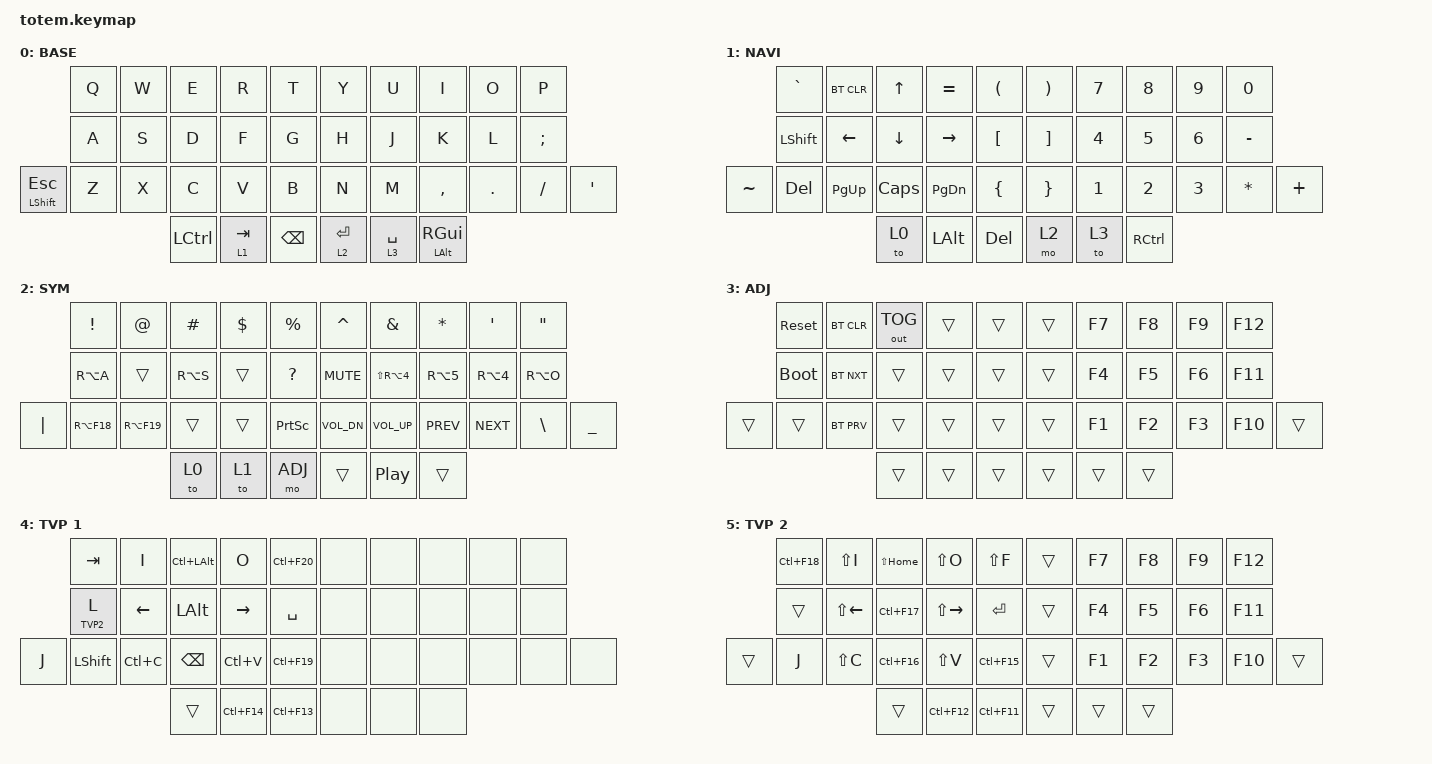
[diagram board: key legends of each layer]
//
//                                                        ▀▀▀▀▀     ▀▀▀▀▀          ▀▀█▀▀
//                                                        ▄▀▀▀▄  ▄  ▄▀▀▀▄  ▄  ▄▀▀▀▄  █  ▄▀▀▀▄
//                                                        █   █  █  █   █  █  █   █  █  █   █
//                                                         ▀▀▀   █   ▀▀▀   █   ▀▀▀   ▀   ▀▀▀
//                                                               █      ▄▄▄█▄▄▄    █   █  
//                                                               ▀      █  █  █     █▄█
//                                                             ▀▀▀▀▀    █  █  █      ▀
//                                                                      ▀  ▀  ▀
//
// ▄▄▄▄▄▄▄▄▄▄▄▄▄▄▄▄▄▄▄▄▄▄▄▄▄▄▄▄▄▄▄▄▄▄▄▄▄▄▄▄▄▄▄▄▄▄▄▄▄▄▄▄▄▄▄▄▄▄▄▄▄▄▄▄▄▄▄▄▄▄▄▄▄▄▄▄▄▄▄▄▄▄▄▄▄▄▄▄▄▄▄▄▄▄▄▄▄▄▄▄▄▄▄▄▄▄▄▄▄▄▄▄▄▄▄▄▄▄▄▄▄▄▄▄▄▄▄▄▄▄▄▄▄▄▄▄▄▄▄▄▄▄▄▄▄▄▄▄▄

#include <behaviors.dtsi>
#include <dt-bindings/zmk/bt.h>
#include <dt-bindings/zmk/keys.h>
#include <dt-bindings/zmk/outputs.h>

#define BASE 0
#define NAV  1
#define SYM  2
#define ADJ  3
#define TVP1 4
#define TVP2 5

&mt {
    quick-tap-ms = <100>;
    global-quick-tap;
    flavor = "tap-preferred";
    tapping-term-ms = <170>;
};

/ {
    combos {
        compatible = "zmk,combos";

        combo_esc {
            timeout-ms = <50>;
            key-positions = <0 1>;
            bindings = <&kp ESC>;
        };

        copy {
            bindings = <&kp LC(C)>;
            key-positions = <23 22>;
        };

        paste {
            bindings = <&kp LC(V)>;
            key-positions = <23 24>;
        };
    };

    macros {
        gif: gif {
            label = "giphy";
            compatible = "zmk,behavior-macro";
            #binding-cells = <0>;
            bindings =
                <&macro_press>,
                <&kp LSHFT>,
                <&macro_tap>,
                <&kp N2>,
                <&macro_release>,
                <&kp LSHFT>,
                <&macro_tap>,
                <&kp G &kp I &kp F>;
        };
    };

    keymap {
        compatible = "zmk,keymap";

        // ▄▄▄▄▄▄▄▄▄▄▄▄▄▄▄▄▄▄▄▄▄▄▄▄▄▄▄▄▄▄▄▄▄▄▄▄▄▄▄▄▄▄▄▄▄▄▄▄▄▄▄▄▄▄▄▄▄▄▄▄▄▄▄▄▄▄▄▄▄▄▄▄▄▄▄▄▄▄▄▄▄▄▄▄▄▄▄▄▄▄▄▄▄▄▄▄▄▄▄▄▄▄▄▄▄▄▄▄▄▄▄▄▄▄▄▄▄▄▄▄▄▄▄▄▄▄▄▄▄▄▄▄▄▄▄▄▄▄▄▄▄▄▄▄▄▄▄▄▄

        base_layer {
            // ┏━━━━━━━━━━━━━━━━━━━━━━━━━━━━━━━━━━━━━━━┓

            label = "BASE";

            // ┗━━━━━━━━━━━━━━━━━━━━━━━━━━━━━━━━━━━━━━━┛
            //             ┏━━━━━━━━━━━┳━━━━━━━━━━━┳━━━━━━━━━━━┳━━━━━━━━━━━┳━━━━━━━━━━━┓   ┏━━━━━━━━━━━┳━━━━━━━━━━━┳━━━━━━━━━━━┳━━━━━━━━━━━┳━━━━━━━━━━━┓
            //             ┃     Q     ┃     W     ┃     F     ┃     P     ┃     G     ┃   ┃     J     ┃     L     ┃     U     ┃     Y     ┃     ;     ┃
            //             ┣━━━━━━━━━━━╋━━━━━━━━━━━╋━━━━━━━━━━━╋━━━━━━━━━━━╋━━━━━━━━━━━┫   ┣━━━━━━━━━━━╋━━━━━━━━━━━╋━━━━━━━━━━━╋━━━━━━━━━━━╋━━━━━━━━━━━┫
            //             ┃     A     ┃     R     ┃     S     ┃     T     ┃     D     ┃   ┃     H     ┃     N     ┃     E     ┃     I     ┃     O     ┃
            // ┏━━━━━━━━━━━╋━━━━━━━━━━━╋━━━━━━━━━━━╋━━━━━━━━━━━╋━━━━━━━━━━━╋━━━━━━━━━━━┫   ┣━━━━━━━━━━━╋━━━━━━━━━━━╋━━━━━━━━━━━╋━━━━━━━━━━━╋━━━━━━━━━━━╋━━━━━━━━━━━┓
            // ┃     Q     ┃     Z     ┃     X     ┃     C     ┃     V     ┃     B     ┃   ┃     K     ┃     M     ┃     ,     ┃     .     ┃     /     ┃     \     ┃
            // ┗━━━━━━━━━━━┻━━━━━━━━━━━┻━━━━━━━━━━━╋━━━━━━━━━━━╋━━━━━━━━━━━╋━━━━━━━━━━━┫   ┣━━━━━━━━━━━╋━━━━━━━━━━━╋━━━━━━━━━━━╋━━━━━━━━━━━┻━━━━━━━━━━━┻━━━━━━━━━━━┛
            //                                     ┃    DEL    ┃    TAB    ┃    SPC    ┃   ┃   ENTER   ┃           ┃   BSPC    ┃
            //                                     ┗━━━━━━━━━━━┻━━━━━━━━━━━┻━━━━━━━━━━━┛   ┗━━━━━━━━━━━┻━━━━━━━━━━━┻━━━━━━━━━━━┛

            bindings = <
                    &kp Q  &kp W  &kp E      &kp R      &kp T            &kp Y        &kp U        &kp I              &kp O       &kp P
                    &kp A  &kp S  &kp D      &kp F      &kp G            &kp H        &kp J        &kp K              &kp L       &kp SEMICOLON
&mt LEFT_SHIFT ESC  &kp Z  &kp X  &kp C      &kp V      &kp B            &kp N        &kp M        &kp COMMA          &kp PERIOD  &kp SLASH      &kp SQT
                                  &kp LCTRL  &lt 1 TAB  &kp BACKSPACE    &lt 2 ENTER  &lt 3 SPACE  &mt LEFT_ALT RGUI
            >;
        };

        // ▄▄▄▄▄▄▄▄▄▄▄▄▄▄▄▄▄▄▄▄▄▄▄▄▄▄▄▄▄▄▄▄▄▄▄▄▄▄▄▄▄▄▄▄▄▄▄▄▄▄▄▄▄▄▄▄▄▄▄▄▄▄▄▄▄▄▄▄▄▄▄▄▄▄▄▄▄▄▄▄▄▄▄▄▄▄▄▄▄▄▄▄▄▄▄▄▄▄▄▄▄▄▄▄▄▄▄▄▄▄▄▄▄▄▄▄▄▄▄▄▄▄▄▄▄▄▄▄▄▄▄▄▄▄▄▄▄▄▄▄▄▄▄▄▄▄▄▄▄

        nav_layer {
            // ┏━━━━━━━━━━━━━━━━━━━━━━━━━━━━━━━━━━━━━━━┓

            label = "NAVI";

            // ┗━━━━━━━━━━━━━━━━━━━━━━━━━━━━━━━━━━━━━━━┛
            //             ┏━━━━━━━━━━━┳━━━━━━━━━━━┳━━━━━━━━━━━┳━━━━━━━━━━━┳━━━━━━━━━━━┓   ┏━━━━━━━━━━━┳━━━━━━━━━━━┳━━━━━━━━━━━┳━━━━━━━━━━━┳━━━━━━━━━━━┓
            //             ┃           ┃           ┃     UP    ┃           ┃     {     ┃   ┃     }     ┃     7     ┃     8     ┃     9     ┃     +     ┃
            //             ┣━━━━━━━━━━━╋━━━━━━━━━━━╋━━━━━━━━━━━╋━━━━━━━━━━━╋━━━━━━━━━━━┫   ┣━━━━━━━━━━━╋━━━━━━━━━━━╋━━━━━━━━━━━╋━━━━━━━━━━━╋━━━━━━━━━━━┫
            //             ┃   SHIFT   ┃   LEFT    ┃    DOWN   ┃   RIGHT   ┃     [     ┃   ┃     ]     ┃     4     ┃     5     ┃     6     ┃     -     ┃
            // ┏━━━━━━━━━━━╋━━━━━━━━━━━╋━━━━━━━━━━━╋━━━━━━━━━━━╋━━━━━━━━━━━╋━━━━━━━━━━━┫   ┣━━━━━━━━━━━╋━━━━━━━━━━━╋━━━━━━━━━━━╋━━━━━━━━━━━╋━━━━━━━━━━━╋━━━━━━━━━━━┓
            // ┃           ┃           ┃   P UP    ┃  C LOCK   ┃  P DOWN   ┃     (     ┃   ┃     )     ┃     1     ┃     2     ┃     3     ┃     *     ┃           ┃
            // ┗━━━━━━━━━━━┻━━━━━━━━━━━┻━━━━━━━━━━━╋━━━━━━━━━━━╋━━━━━━━━━━━╋━━━━━━━━━━━┫   ┣━━━━━━━━━━━╋━━━━━━━━━━━╋━━━━━━━━━━━╋━━━━━━━━━━━┻━━━━━━━━━━━┻━━━━━━━━━━━┛
            //                                     ┃           ┃    TAB    ┃    SPC    ┃   ┃    DEL    ┃     0     ┃           ┃
            //                                     ┗━━━━━━━━━━━┻━━━━━━━━━━━┻━━━━━━━━━━━┛   ┗━━━━━━━━━━━┻━━━━━━━━━━━┻━━━━━━━━━━━┛

            bindings = <
           &kp GRAVE  &bt BT_CLR  &kp UP    &kp EQUAL     &kp LEFT_PARENTHESIS    &kp RIGHT_PARENTHESIS  &kp N7        &kp N8        &kp N9        &kp NUMBER_0
           &kp LSHFT  &kp LEFT    &kp DOWN  &kp RIGHT     &kp LBKT                &kp RBKT               &kp NUMBER_4  &kp N5        &kp NUMBER_6  &kp MINUS
&kp TILDE  &kp DEL    &kp PG_UP   &kp CAPS  &kp PG_DN     &kp LEFT_BRACE          &kp RIGHT_BRACE        &kp N1        &kp NUMBER_2  &kp NUMBER_3  &kp ASTERISK  &kp PLUS
                                  &to 0     &kp LEFT_ALT  &kp DELETE              &mo 2                  &to 3         &kp RCTRL
            >;
        };

        // ▄▄▄▄▄▄▄▄▄▄▄▄▄▄▄▄▄▄▄▄▄▄▄▄▄▄▄▄▄▄▄▄▄▄▄▄▄▄▄▄▄▄▄▄▄▄▄▄▄▄▄▄▄▄▄▄▄▄▄▄▄▄▄▄▄▄▄▄▄▄▄▄▄▄▄▄▄▄▄▄▄▄▄▄▄▄▄▄▄▄▄▄▄▄▄▄▄▄▄▄▄▄▄▄▄▄▄▄▄▄▄▄▄▄▄▄▄▄▄▄▄▄▄▄▄▄▄▄▄▄▄▄▄▄▄▄▄▄▄▄▄▄▄▄▄▄▄▄▄

        sim_layer {
            // ┏━━━━━━━━━━━━━━━━━━━━━━━━━━━━━━━━━━━━━━━┓

            label = "SYM";

            // ┗━━━━━━━━━━━━━━━━━━━━━━━━━━━━━━━━━━━━━━━┛
            //             ┏━━━━━━━━━━━┳━━━━━━━━━━━┳━━━━━━━━━━━┳━━━━━━━━━━━┳━━━━━━━━━━━┓   ┏━━━━━━━━━━━┳━━━━━━━━━━━┳━━━━━━━━━━━┳━━━━━━━━━━━┳━━━━━━━━━━━┓
            //             ┃     !     ┃     @     ┃     #     ┃     $     ┃     %     ┃   ┃     ˆ     ┃     &     ┃     Ü     ┃     '     ┃     "     ┃
            //             ┣━━━━━━━━━━━╋━━━━━━━━━━━╋━━━━━━━━━━━╋━━━━━━━━━━━╋━━━━━━━━━━━┫   ┣━━━━━━━━━━━╋━━━━━━━━━━━╋━━━━━━━━━━━╋━━━━━━━━━━━╋━━━━━━━━━━━┫
            //             ┃     Ä     ┃           ┃    SZ     ┃           ┃           ┃   ┃   MUTE    ┃   YEN     ┃   EURO    ┃  POUND    ┃     Ö     ┃
            // ┏━━━━━━━━━━━╋━━━━━━━━━━━╋━━━━━━━━━━━╋━━━━━━━━━━━╋━━━━━━━━━━━╋━━━━━━━━━━━┫   ┣━━━━━━━━━━━╋━━━━━━━━━━━╋━━━━━━━━━━━╋━━━━━━━━━━━╋━━━━━━━━━━━╋━━━━━━━━━━━┓
            // ┃           ┃  EMAIL1   ┃  EMAIL2   ┃           ┃           ┃           ┃   ┃   VOL-    ┃   VOL+    ┃   LAST    ┃   NEXT    ┃     \     ┃           ┃
            // ┗━━━━━━━━━━━┻━━━━━━━━━━━┻━━━━━━━━━━━╋━━━━━━━━━━━╋━━━━━━━━━━━╋━━━━━━━━━━━┫   ┣━━━━━━━━━━━╋━━━━━━━━━━━╋━━━━━━━━━━━╋━━━━━━━━━━━┻━━━━━━━━━━━┻━━━━━━━━━━━┛
            //                                     ┃           ┃    GIF    ┃    ADJ    ┃   ┃           ┃           ┃           ┃
            //                                     ┗━━━━━━━━━━━┻━━━━━━━━━━━┻━━━━━━━━━━━┛   ┗━━━━━━━━━━━┻━━━━━━━━━━━┻━━━━━━━━━━━┛

            bindings = <
          &kp EXCL     &kp AT       &kp HASH   &kp DLLR  &kp PERCENT        &kp CARET     &kp AMPS        &kp ASTERISK  &kp SQT     &kp DQT
          &kp RA(A)    &trans       &kp RA(S)  &trans    &kp QUESTION       &kp C_MUTE    &kp LS(RA(N4))  &kp RA(N5)    &kp RA(N4)  &kp RA(O)
&kp PIPE  &kp RA(F18)  &kp RA(F19)  &trans     &trans    &kp PRINTSCREEN    &kp C_VOL_DN  &kp C_VOL_UP    &kp C_PREV    &kp C_NEXT  &kp BSLH   &kp UNDERSCORE
                                    &to 0      &to 1     &mo ADJ            &trans        &kp C_PP        &trans
            >;
        };

        // ▄▄▄▄▄▄▄▄▄▄▄▄▄▄▄▄▄▄▄▄▄▄▄▄▄▄▄▄▄▄▄▄▄▄▄▄▄▄▄▄▄▄▄▄▄▄▄▄▄▄▄▄▄▄▄▄▄▄▄▄▄▄▄▄▄▄▄▄▄▄▄▄▄▄▄▄▄▄▄▄▄▄▄▄▄▄▄▄▄▄▄▄▄▄▄▄▄▄▄▄▄▄▄▄▄▄▄▄▄▄▄▄▄▄▄▄▄▄▄▄▄▄▄▄▄▄▄▄▄▄▄▄▄▄▄▄▄▄▄▄▄▄▄▄▄▄▄▄▄

        adjust_layer {
            // ┏━━━━━━━━━━━━━━━━━━━━━━━━━━━━━━━━━━━━━━━┓

            label = "ADJ";

            // ┗━━━━━━━━━━━━━━━━━━━━━━━━━━━━━━━━━━━━━━━┛
            //             ┏━━━━━━━━━━━┳━━━━━━━━━━━┳━━━━━━━━━━━┳━━━━━━━━━━━┳━━━━━━━━━━━┓   ┏━━━━━━━━━━━┳━━━━━━━━━━━┳━━━━━━━━━━━┳━━━━━━━━━━━┳━━━━━━━━━━━┓
            //             ┃   RESET   ┃ BT CLEAR  ┃  OUT TOG  ┃           ┃           ┃   ┃           ┃    F7     ┃    F8     ┃    F9     ┃    F12    ┃
            //             ┣━━━━━━━━━━━╋━━━━━━━━━━━╋━━━━━━━━━━━╋━━━━━━━━━━━╋━━━━━━━━━━━┫   ┣━━━━━━━━━━━╋━━━━━━━━━━━╋━━━━━━━━━━━╋━━━━━━━━━━━╋━━━━━━━━━━━┫
            //             ┃ BOOTLOAD  ┃ BT NEXT   ┃           ┃           ┃           ┃   ┃           ┃    F4     ┃    F5     ┃    F6     ┃    F11    ┃
            // ┏━━━━━━━━━━━╋━━━━━━━━━━━╋━━━━━━━━━━━╋━━━━━━━━━━━╋━━━━━━━━━━━╋━━━━━━━━━━━┫   ┣━━━━━━━━━━━╋━━━━━━━━━━━╋━━━━━━━━━━━╋━━━━━━━━━━━╋━━━━━━━━━━━╋━━━━━━━━━━━┓
            // ┃           ┃           ┃ BT PREV   ┃           ┃           ┃           ┃   ┃           ┃    F1     ┃    F2     ┃    F3     ┃    F10    ┃           ┃
            // ┗━━━━━━━━━━━┻━━━━━━━━━━━┻━━━━━━━━━━━╋━━━━━━━━━━━╋━━━━━━━━━━━╋━━━━━━━━━━━┫   ┣━━━━━━━━━━━╋━━━━━━━━━━━╋━━━━━━━━━━━╋━━━━━━━━━━━┻━━━━━━━━━━━┻━━━━━━━━━━━┛
            //                                     ┃           ┃           ┃           ┃   ┃           ┃           ┃           ┃
            //                                     ┗━━━━━━━━━━━┻━━━━━━━━━━━┻━━━━━━━━━━━┛   ┗━━━━━━━━━━━┻━━━━━━━━━━━┻━━━━━━━━━━━┛

            bindings = <
        &sys_reset   &bt BT_CLR  &out OUT_TOG  &trans  &trans    &trans  &kp F7  &kp F8  &kp F9  &kp F12
        &bootloader  &bt BT_NXT  &trans        &trans  &trans    &trans  &kp F4  &kp F5  &kp F6  &kp F11
&trans  &trans       &bt BT_PRV  &trans        &trans  &trans    &trans  &kp F1  &kp F2  &kp F3  &kp F10  &trans
                                 &trans        &trans  &trans    &trans  &trans  &trans
            >;
        };

        // ▄▄▄▄▄▄▄▄▄▄▄▄▄▄▄▄▄▄▄▄▄▄▄▄▄▄▄▄▄▄▄▄▄▄▄▄▄▄▄▄▄▄▄▄▄▄▄▄▄▄▄▄▄▄▄▄▄▄▄▄▄▄▄▄▄▄▄▄▄▄▄▄▄▄▄▄▄▄▄▄▄▄▄▄▄▄▄▄▄▄▄▄▄▄▄▄▄▄▄▄▄▄▄▄▄▄▄▄▄▄▄▄▄▄▄▄▄▄▄▄▄▄▄▄▄▄▄▄▄▄▄▄▄▄▄▄▄▄▄▄▄▄▄▄▄▄▄▄▄

        tvp1_layer {
            // ┏━━━━━━━━━━━━━━━━━━━━━━━━━━━━━━━━━━━━━━━┓

            label = "TVP 1";

            // ┗━━━━━━━━━━━━━━━━━━━━━━━━━━━━━━━━━━━━━━━┛
            //             ┏━━━━━━━━━━━┳━━━━━━━━━━━┳━━━━━━━━━━━┳━━━━━━━━━━━┳━━━━━━━━━━━┓   ┏━━━━━━━━━━━┳━━━━━━━━━━━┳━━━━━━━━━━━┳━━━━━━━━━━━┳━━━━━━━━━━━┓
            //             ┃ NEXT FILE ┃ MARK IN   ┃ ROTATE    ┃ MARK OUT  ┃ SHOW SNAP ┃   ┃           ┃           ┃           ┃           ┃           ┃
            //             ┣━━━━━━━━━━━╋━━━━━━━━━━━╋━━━━━━━━━━━╋━━━━━━━━━━━╋━━━━━━━━━━━┫   ┣━━━━━━━━━━━╋━━━━━━━━━━━╋━━━━━━━━━━━╋━━━━━━━━━━━╋━━━━━━━━━━━┫
            //             ┃ TVP II    ┃ LEFT      ┃ PAN       ┃ RIGHT     ┃ PLAY/FLIP ┃   ┃           ┃           ┃           ┃           ┃           ┃
            // ┏━━━━━━━━━━━╋━━━━━━━━━━━╋━━━━━━━━━━━╋━━━━━━━━━━━╋━━━━━━━━━━━╋━━━━━━━━━━━┫   ┣━━━━━━━━━━━╋━━━━━━━━━━━╋━━━━━━━━━━━╋━━━━━━━━━━━╋━━━━━━━━━━━╋━━━━━━━━━━━┓
            // ┃ FULLSCR   ┃ SHIFT     ┃ COPY      ┃ DELETE    ┃ PASTE     ┃ IMG MARK  ┃   ┃           ┃           ┃           ┃           ┃           ┃           ┃
            // ┗━━━━━━━━━━━┻━━━━━━━━━━━┻━━━━━━━━━━━╋━━━━━━━━━━━╋━━━━━━━━━━━╋━━━━━━━━━━━┫   ┣━━━━━━━━━━━╋━━━━━━━━━━━╋━━━━━━━━━━━╋━━━━━━━━━━━┻━━━━━━━━━━━┻━━━━━━━━━━━┛
            //                                     ┃           ┃ UNDO/SAVE ┃  SEL/MOV  ┃   ┃           ┃           ┃           ┃
            //                                     ┗━━━━━━━━━━━┻━━━━━━━━━━━┻━━━━━━━━━━━┛   ┗━━━━━━━━━━━┻━━━━━━━━━━━┻━━━━━━━━━━━┛

            bindings = <
       &kp TAB     &kp I      &kp LC(LALT)  &kp O        &kp LC(F20)    &none  &none  &none  &none  &none
       &lt TVP2 L  &kp LEFT   &kp LALT      &kp RIGHT    &kp SPACE      &none  &none  &none  &none  &none
&kp J  &kp LSHFT   &kp LC(C)  &kp BSPC      &kp LC(V)    &kp LC(F19)    &none  &none  &none  &none  &none  &none
                              &trans        &kp LC(F14)  &kp LC(F13)    &none  &none  &none
            >;
        };

        // ▄▄▄▄▄▄▄▄▄▄▄▄▄▄▄▄▄▄▄▄▄▄▄▄▄▄▄▄▄▄▄▄▄▄▄▄▄▄▄▄▄▄▄▄▄▄▄▄▄▄▄▄▄▄▄▄▄▄▄▄▄▄▄▄▄▄▄▄▄▄▄▄▄▄▄▄▄▄▄▄▄▄▄▄▄▄▄▄▄▄▄▄▄▄▄▄▄▄▄▄▄▄▄▄▄▄▄▄▄▄▄▄▄▄▄▄▄▄▄▄▄▄▄▄▄▄▄▄▄▄▄▄▄▄▄▄▄▄▄▄▄▄▄▄▄▄▄▄▄

        tvp2_layer {
            // ┏━━━━━━━━━━━━━━━━━━━━━━━━━━━━━━━━━━━━━━━┓

            label = "TVP 2";

            // ┗━━━━━━━━━━━━━━━━━━━━━━━━━━━━━━━━━━━━━━━┛
            //             ┏━━━━━━━━━━━┳━━━━━━━━━━━┳━━━━━━━━━━━┳━━━━━━━━━━━┳━━━━━━━━━━━┓   ┏━━━━━━━━━━━┳━━━━━━━━━━━┳━━━━━━━━━━━┳━━━━━━━━━━━┳━━━━━━━━━━━┓
            //             ┃ SOLO      ┃ TOGGLE IN ┃ RESET ROT ┃ TOGGLE OUT┃ TAKE SNAP ┃   ┃           ┃           ┃           ┃           ┃           ┃
            //             ┣━━━━━━━━━━━╋━━━━━━━━━━━╋━━━━━━━━━━━╋━━━━━━━━━━━╋━━━━━━━━━━━┫   ┣━━━━━━━━━━━╋━━━━━━━━━━━╋━━━━━━━━━━━╋━━━━━━━━━━━╋━━━━━━━━━━━┫
            //             ┃ ---       ┃ LAST KEY  ┃ NEW KEY   ┃ NEXT KEY  ┃ ENTER     ┃   ┃           ┃           ┃           ┃           ┃           ┃
            // ┏━━━━━━━━━━━╋━━━━━━━━━━━╋━━━━━━━━━━━╋━━━━━━━━━━━╋━━━━━━━━━━━╋━━━━━━━━━━━┫   ┣━━━━━━━━━━━╋━━━━━━━━━━━╋━━━━━━━━━━━╋━━━━━━━━━━━╋━━━━━━━━━━━╋━━━━━━━━━━━┓
            // ┃           ┃ FULLSCR   ┃ CPY2BRUSH ┃ DEL HEAD  ┃ PSTinPLACE┃ BOOK MARK ┃   ┃           ┃           ┃           ┃           ┃           ┃           ┃
            // ┗━━━━━━━━━━━┻━━━━━━━━━━━┻━━━━━━━━━━━╋━━━━━━━━━━━╋━━━━━━━━━━━╋━━━━━━━━━━━┫   ┣━━━━━━━━━━━╋━━━━━━━━━━━╋━━━━━━━━━━━╋━━━━━━━━━━━┻━━━━━━━━━━━┻━━━━━━━━━━━┛
            //                                     ┃           ┃ REDO/SAV1 ┃TRANS/WARP ┃   ┃           ┃           ┃           ┃
            //                                     ┗━━━━━━━━━━━┻━━━━━━━━━━━┻━━━━━━━━━━━┛   ┗━━━━━━━━━━━┻━━━━━━━━━━━┻━━━━━━━━━━━┛

            bindings = <
        &kp LC(F18)  &kp LS(I)     &kp LS(HOME)  &kp LS(O)      &kp LS(F)      &trans  &kp F7  &kp F8  &kp F9  &kp F12
        &trans       &kp LS(LEFT)  &kp LC(F17)   &kp LS(RIGHT)  &kp RET        &trans  &kp F4  &kp F5  &kp F6  &kp F11
&trans  &kp J        &kp LS(C)     &kp LC(F16)   &kp LS(V)      &kp LC(F15)    &trans  &kp F1  &kp F2  &kp F3  &kp F10  &trans
                                   &trans        &kp LC(F12)    &kp LC(F11)    &trans  &trans  &trans
            >;
        };
    };
};
